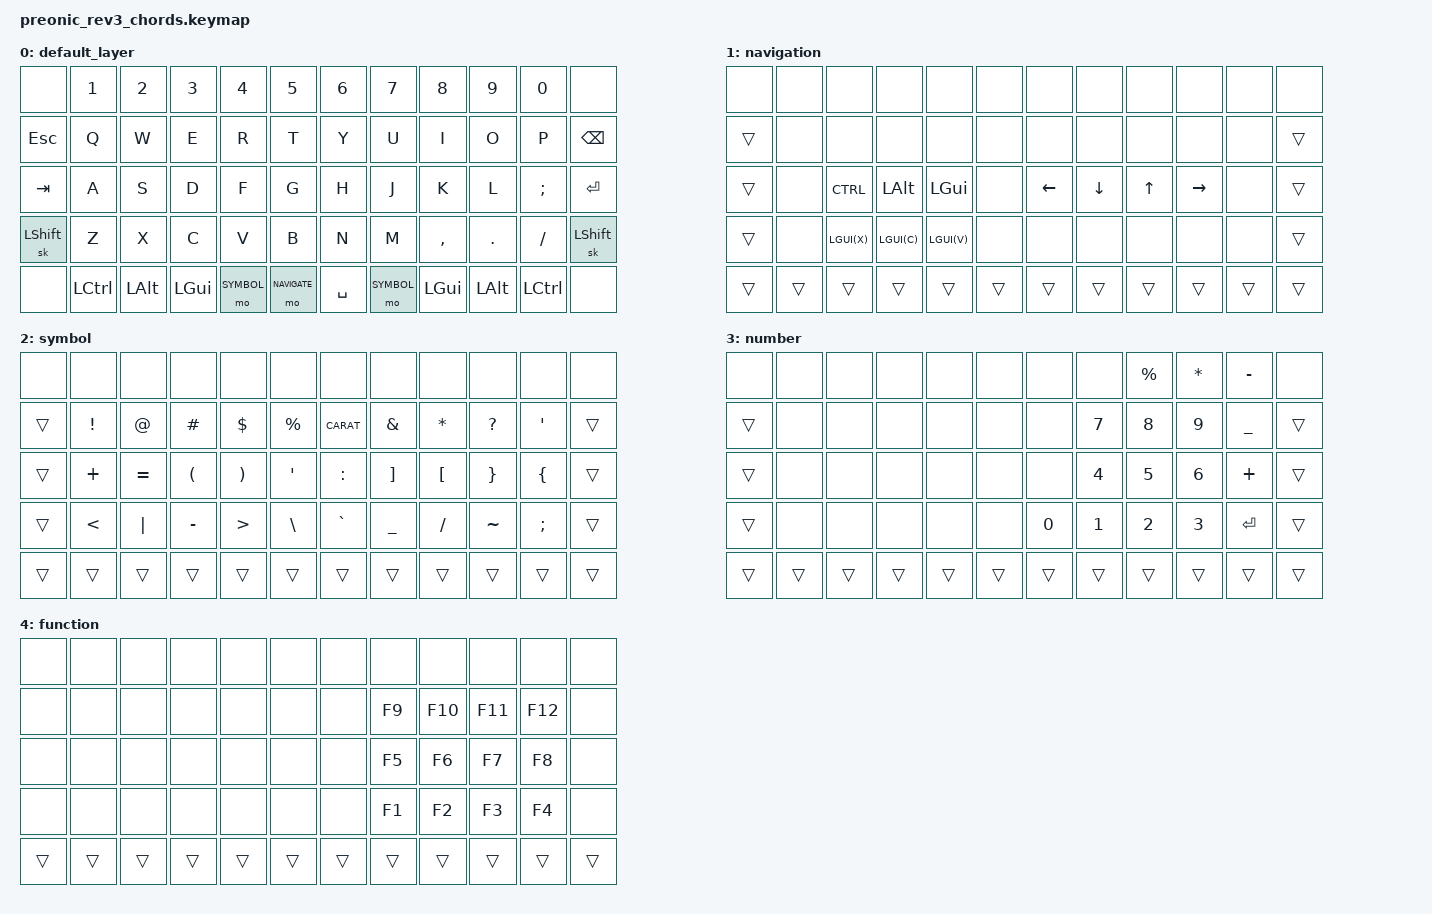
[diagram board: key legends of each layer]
/*
 * Copyright (c) 2022 The ZMK Contributors
 *
 * SPDX-License-Identifier: MIT
 */

#include <behaviors.dtsi>
#include <dt-bindings/zmk/keys.h>
#include <dt-bindings/zmk/bt.h>

#define DEFAULT 0
#define NAVIGATE  1
#define SYMBOL  2
#define NUMBER   3
#define FUNCTION   4

/ {
    chosen { zmk,matrix-transform = &layout_grid_transform; };
    combos {
      // ||-----------------------------||-----------------------------||
      // || 00 | 01 | 02 | 03 | 04 | 05 || 06 | 07 | 08 | 09 | 10 | 11 ||
      // || 12 | 13 | 14 | 15 | 16 | 17 || 18 | 19 | 20 | 21 | 22 | 23 ||
      // || 24 | 25 | 26 | 27 |.28.| 29 || 30 |.31.| 32 | 33 | 34 | 35 ||
      // || 36 | 37 | 38 | 39 | 40 | 41 || 42 | 43 | 44 | 45 | 46 | 47 ||
      // || 48 | 49 | 50 | 51 | 52 | 53 || 54 | 55 | 56 | 57 | 58 | 59 ||
      // ||-----------------------------||-----------------------------||
      compatible = "zmk,combos";
      combo_escape    { key-positions = <13 14>; bindings = <&kp ESCAPE>;    layers = <DEFAULT>; timeout-ms = <50>; };
      combo_tab       { key-positions = <25 26>; bindings = <&kp TAB>;       layers = <DEFAULT>; timeout-ms = <50>; };
      combo_undo      { key-positions = <37 38>; bindings = <&kp K_UNDO>;    layers = <DEFAULT>; timeout-ms = <50>; };
      combo_number_layer { key-positions = <39 40>; bindings = <&mo NUMBER>;    layers = <DEFAULT NUMBER>; timeout-ms = <50>; };
      combo_function_layer { key-positions = <15 16>; bindings = <&mo FUNCTION>;    layers = <DEFAULT FUNCTION>; timeout-ms = <50>; };
      combo_backspace { key-positions = <21 22>; bindings = <&kp BACKSPACE>; layers = <DEFAULT>; timeout-ms = <50>; };
      combo_enter     { key-positions = <33 34>; bindings = <&kp ENTER>;     layers = <DEFAULT>; timeout-ms = <50>; };
      combo_leader    { key-positions = <45 46>; bindings = <&kp LC(B)>;     layers = <DEFAULT>; timeout-ms = <50>; };
    };
    keymap {
        compatible = "zmk,keymap";
        default_layer {
            //  -------------------------------------------------------------------------------------------------
            // |       |  1   |  2   |  3   |  4    |  5     |   6   |  7     |  8   |  9    |   0   |        |
            // |esc|  Q   |  W   |  E   |  R    |  T     |   Y   |  U     |  I   |  O    |   P   |backspace|
            // |tab|  A   |  S   |  D   |  F    |  G     |   H   |  J     |  K   |  L    |   ;   |enter|
            // |SHIFT|  Z   |  X   |  C   |  V    |  B     |   N   |  M     |  ,   |  .    |   /   |shift|
            // |       | LGUI | LALT | LCTL | L0    | SHIFT  |  SPC  |  L0    | CMD  |  ALT  | CTRL  |        |
            //  -------------------------------------------------------------------------------------------------
            bindings = <
                &none   &kp N1     &kp N2    &kp N3    &kp N4     &kp N5     &kp N6     &kp N7     &kp N8     &kp N9    &kp N0     &none
                &kp ESC   &kp Q      &kp W     &kp E     &kp R      &kp T      &kp Y      &kp U      &kp I      &kp O     &kp P      &kp BACKSPACE
                &kp TAB   &kp A      &kp S     &kp D     &kp F      &kp G      &kp H      &kp J      &kp K      &kp L     &kp SEMI   &kp ENTER
                &sk LSHIFT   &kp Z      &kp X     &kp C     &kp V      &kp B      &kp N      &kp M      &kp COMMA  &kp DOT   &kp SLASH  &sk LSHIFT
                &none   &kp LCTRL  &kp LALT  &kp LGUI  &mo SYMBOL &mo NAVIGATE  &kp SPACE  &mo SYMBOL  &kp LGUI   &kp LALT  &kp LCTRL     &none
                >;
        };
        navigation {
            // ||-----------------------------------------||-----------------------------------------||
            // ||      |      |      |      |      |      ||      |      |      |      |      |      ||
            // ||      |      |      |      |      |      ||      |      |      |      |      |      ||
            // ||      |      | CTRL | ALT  | CMD  |      || LEFT | DOWN |  UP  | RIGHT|      |      ||
            // ||      |      |  CUT | COPY | PASTE|      ||      |      |      |      |      |      ||
            // ||      |      |      |      |      |  NAV ||      |      |      |      |      |      ||
            // ||-----------------------------------------||-----------------------------------------||
            bindings = <
                 &none  &none   &none        &none        &none        &none   &none    &none     &none   &none     &none   &none
                 &trans  &none  &none        &none        &none        &none   &none    &none     &none   &none     &none   &trans
                 &trans  &none  &kp CTRL     &kp LALT     &kp LGUI     &none   &kp LEFT &kp DOWN  &kp UP  &kp RIGHT &none   &trans
                 &trans  &none  &kp LGUI(X)  &kp LGUI(C)  &kp LGUI(V)  &none   &none    &none     &none   &none     &none   &trans
                 &trans &trans  &trans       &trans       &trans       &trans  &trans   &trans    &trans  &trans    &trans  &trans
                 >;
        };
        symbol {
            // ||-----------------------------------------||-----------------------------------------||
            // ||      |      |      |      |      |      ||      |      |      |      |      |      ||
            // ||      |   !  |   @  |  #   |  $   |  %   ||  ^   |  &   |  *   |  ?   |  '   |      ||
            // ||      |   +  |   =  |  (   |  )   |  "   ||  :   |  ]   |  [   |  }   |  {   |      ||
            // ||      |   <  |   |  |  -   |  >   |  \   ||  `   |  _   |  /   |  ~   |  ;   |      ||
            // ||      |      |      |      |      |      ||      |      |      |      |      |      ||
            // ||-----------------------------------------||-----------------------------------------||
            bindings = <
                 &none  &none  &none  &none  &none  &none   &none  &none   &none   &none   &none   &none
                 &trans  &kp EXCL  &kp AT    &kp HASH  &kp DOLLAR  &kp PERCENT &kp CARAT &kp AMPS  &kp STAR   &kp QMARK  &kp SQT   &trans
                 &trans  &kp PLUS  &kp EQUAL &kp LPAR  &kp RPAR    &kp APOS    &kp COLON &kp RBKT  &kp LBKT   &kp RBRC   &kp LBRC  &trans
                 &trans  &kp LT    &kp PIPE  &kp MINUS &kp GT      &kp BSLH    &kp GRAVE &kp UNDER &kp SLASH  &kp TILDE  &kp SEMI  &trans
                 &trans &trans &trans &trans &trans &trans  &trans &trans  &trans  &trans  &trans  &trans
                 >;
        };
        number {
            // ||-----------------------------------------||-----------------------------------------||
            // ||      |      |      |      |      |      ||      |      |  %   |  *   |  -   |      ||
            // ||      |      |      |      |      |      ||      |  7   |  8   |  9   |  _   |      ||
            // ||      |      |      |      |      |      ||      |  4   |  5   |  6   |  +   |      ||
            // ||      |      |      |      | <ACTIVATE>  ||  0   |  1   |  2   |  3   |ENTER |      ||
            // ||      |      |      |      |      |      ||      |      |      |      |      |      ||
            // ||-----------------------------------------||-----------------------------------------||
            bindings = <
                 &none  &none  &none  &none  &none  &none   &none  &none   &kp PRCNT &kp STAR   &kp MINUS &none
                 &trans  &none  &none  &none  &none  &none   &none  &kp N7  &kp N8    &kp N9     &kp UNDER &trans
                 &trans  &none  &none  &none  &none  &none   &none  &kp N4  &kp N5    &kp N6     &kp PLUS  &trans
                 &trans  &none  &none  &none  &none  &none   &kp N0 &kp N1  &kp N2    &kp N3     &kp ENTER &trans
                 &trans &trans &trans &trans &trans &trans  &trans &trans  &trans    &trans     &trans    &trans
                >;
        };
        function {
            // ||-----------------------------------------||-----------------------------------------||
            // ||      |      |      |      |      |      ||      |      |      |      |      |      ||
            // ||      |      |      |      |  <ACTIVATE> ||      |  F9  |  F10 |  F11 |  F12 |      ||
            // ||      |      |      |      |      |      ||      |  F5  |  F6  |  F7  |  F8  |      ||
            // ||      |      |      |      |      |      ||      |  F1  |  F2  |  F3  |  F4  |      ||
            // ||      |      |      |      |      |      ||      |      |      |      |      |      ||
            // ||-----------------------------------------||-----------------------------------------||
            bindings = <
                 &none  &none  &none  &none  &none  &none   &none  &none   &none   &none   &none   &none
                 &none  &none  &none  &none  &none  &none   &none  &kp F9  &kp F10 &kp F11 &kp F12 &none
                 &none  &none  &none  &none  &none  &none   &none  &kp F5  &kp F6  &kp F7  &kp F8  &none
                 &none  &none  &none  &none  &none  &none   &none  &kp F1  &kp F2  &kp F3  &kp F4  &none
                 &trans &trans &trans &trans &trans &trans  &trans &trans  &trans  &trans  &trans  &trans
                 >;
        };

        // blank {
        //     // ||-----------------------------------------||-----------------------------------------||
        //     // ||      |      |      |      |      |      ||      |      |      |      |      |      ||
        //     // ||      |      |      |      |      |      ||      |      |      |      |      |      ||
        //     // ||      |      |      |      |      |      ||      |      |      |      |      |      ||
        //     // ||      |      |      |      |      |      ||      |      |      |      |      |      ||
        //     // ||      |      |      |      |      |      ||      |      |      |      |      |      ||
        //     // ||-----------------------------------------||-----------------------------------------||
        //     bindings = <
        //          &none  &none  &none  &none  &none  &none   &none  &none   &none   &none   &none   &none
        //          &none  &none  &none  &none  &none  &none   &none  &none   &none   &none   &none   &none
        //          &none  &none  &none  &none  &none  &none   &none  &none   &none   &none   &none   &none
        //          &none  &none  &none  &none  &none  &none   &none  &none   &none   &none   &none   &none
        //          &trans &trans &trans &trans &trans &trans  &trans &trans  &trans  &trans  &trans  &trans
        //          >;
        // };
    };
};
